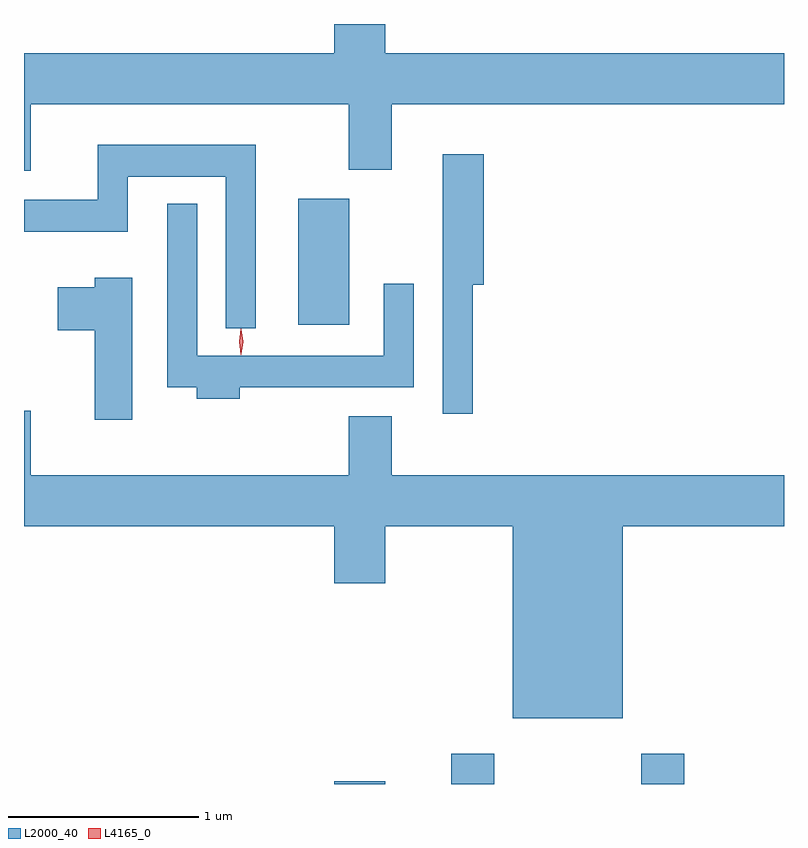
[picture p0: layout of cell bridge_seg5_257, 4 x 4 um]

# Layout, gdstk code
import gdstk
lib = gdstk.Library(unit=1e-6, precision=1e-09)
def R(c, l, rs):  # rectangles x0, y0, x1, y1
    for r in rs: c.add(gdstk.rectangle(r[:2], r[2:], *l))
def P(c, l, *ps):  # polygons
    for p in ps: c.add(gdstk.Polygon(p, *l))
L2000_40 = (2000, 40)
L4165_0 = (4165, 0)

bridge_seg5_257 = lib.new_cell('bridge_seg5_257')
R(bridge_seg5_257, L2000_40, [(674.616,1497.619,674.884,1497.634), (675.231,1497.619,675.459,1497.779), (676.231,1497.619,676.459,1497.779), (674.426,1500.036,674.694,1500.699)])
P(bridge_seg5_257, L2000_40, [(673.019,1501.196),(674.691,1501.196),(674.691,1500.851),(674.919,1500.851),(674.919,1501.196),(676.983,1501.196),(676.983,1501.464),(674.884,1501.464),(674.884,1501.619),(674.616,1501.619),(674.616,1501.464),(672.983,1501.464),(672.983,1500.846),(673.019,1500.846)],
  [(674.204,1500.984),(673.371,1500.984),(673.371,1500.694),(672.983,1500.694),(672.983,1500.526),(673.529,1500.526),(673.529,1500.816),(674.046,1500.816),(674.046,1500.018),(674.204,1500.018)],
  [(675.344,1500.246),(675.404,1500.246),(675.404,1500.934),(675.186,1500.934),(675.186,1499.568),(675.344,1499.568)],
  [(674.119,1499.706),(675.034,1499.706),(675.034,1500.253),(674.876,1500.253),(674.876,1499.874),(673.894,1499.874),(673.894,1500.673),(673.736,1500.673),(673.736,1499.706),(673.891,1499.706),(673.891,1499.646),(674.119,1499.646)],
  [(673.554,1500.284),(673.356,1500.284),(673.356,1500.234),(673.161,1500.234),(673.161,1500.006),(673.356,1500.006),(673.356,1499.536),(673.554,1499.536)],
  [(676.134,1498.976),(676.983,1498.976),(676.983,1499.244),(674.919,1499.244),(674.919,1499.554),(674.691,1499.554),(674.691,1499.244),(673.019,1499.244),(673.019,1499.584),(672.983,1499.584),(672.983,1498.976),(674.616,1498.976),(674.616,1498.676),(674.884,1498.676),(674.884,1498.976),(675.556,1498.976),(675.556,1497.966),(676.134,1497.966)])
P(bridge_seg5_257, L4165_0, [(674.125,1499.877),(674.125,1499.878),(674.115,1499.947),(674.125,1500.016),(674.125,1500.016),(674.126,1500.016),(674.135,1499.947),(674.126,1499.878)],
  [(674.126,1499.879),(674.126,1499.88),(674.116,1499.946),(674.126,1500.012),(674.126,1500.013),(674.127,1500.012),(674.136,1499.946),(674.127,1499.88)])

lib.write_gds('bridge_seg5_257.gds')
